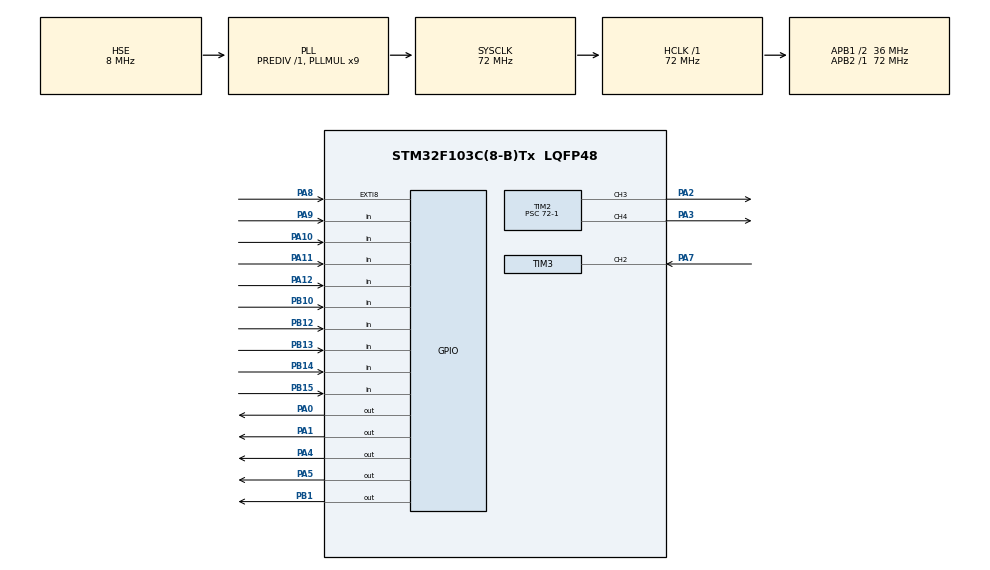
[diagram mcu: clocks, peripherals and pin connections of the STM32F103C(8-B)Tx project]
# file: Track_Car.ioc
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FREERTOS.Tasks01=defaultTask,24,128,StartDefaultTask,Default,NULL,Dynamic,NULL,NULL
FREERTOS.configTOTAL_HEAP_SIZE=10240
Mcu.Family=STM32F1
Mcu.Name=STM32F103C(8-B)Tx
Mcu.Package=LQFP48
NVIC.EXTI9_5_IRQn=true\:5\:0\:false\:false\:true\:true\:true\:true\:true
NVIC.PriorityGroup=NVIC_PRIORITYGROUP_4
NVIC.RTC_Alarm_IRQn=true\:5\:0\:false\:false\:true\:true\:true\:true\:true
NVIC.TIM3_IRQn=true\:6\:0\:true\:false\:true\:true\:true\:true\:true
NVIC.TIM4_IRQn=true\:5\:0\:true\:false\:true\:true\:true\:true\:true
PA0-WKUP.GPIO_PuPd=GPIO_NOPULL
PA0-WKUP.PinState=GPIO_PIN_RESET
PA0-WKUP.Signal=GPIO_Output
PA1.GPIO_PuPd=GPIO_NOPULL
PA1.Signal=GPIO_Output
PA10.Signal=GPIO_Input
PA11.Signal=GPIO_Input
PA12.Signal=GPIO_Input
PA13.Mode=Serial_Wire
PA13.Signal=SYS_JTMS-SWDIO
PA14.Mode=Serial_Wire
PA14.Signal=SYS_JTCK-SWCLK
PA2.Signal=S_TIM2_CH3
PA3.Signal=S_TIM2_CH4
PA4.GPIO_PuPd=GPIO_NOPULL
PA4.Signal=GPIO_Output
PA5.GPIO_PuPd=GPIO_NOPULL
PA5.Signal=GPIO_Output
PA7.Signal=S_TIM3_CH2
PA8.GPIO_ModeDefaultEXTI=GPIO_MODE_IT_FALLING
PA8.Signal=GPXTI8
PA9.Signal=GPIO_Input
PB1.GPIO_Speed=GPIO_SPEED_FREQ_HIGH
PB1.Signal=GPIO_Output
PB10.Signal=GPIO_Input
PB12.Signal=GPIO_Input
PB13.Signal=GPIO_Input
PB14.Signal=GPIO_Input
PB15.Signal=GPIO_Input
PC14-OSC32_IN.Mode=LSE-External-Oscillator
PC14-OSC32_IN.Signal=RCC_OSC32_IN
PC15-OSC32_OUT.Mode=LSE-External-Oscillator
PC15-OSC32_OUT.Signal=RCC_OSC32_OUT
PD0-OSC_IN.Mode=HSE-External-Oscillator
PD0-OSC_IN.Signal=RCC_OSC_IN
PD1-OSC_OUT.Mode=HSE-External-Oscillator
PD1-OSC_OUT.Signal=RCC_OSC_OUT
ProjectManager.HeapSize=0x200
ProjectManager.StackSize=0x400
ProjectManager.TargetToolchain=MDK-ARM V5.32
RCC.AHBFreq_Value=72000000
RCC.APB1CLKDivider=RCC_HCLK_DIV2
RCC.APB1Freq_Value=36000000
RCC.APB1TimFreq_Value=72000000
RCC.APB2Freq_Value=72000000
RCC.APB2TimFreq_Value=72000000
RCC.HCLKFreq_Value=72000000
RCC.PLLMUL=RCC_PLL_MUL9
RCC.PLLSourceVirtual=RCC_PLLSOURCE_HSE
RCC.SYSCLKFreq_VALUE=72000000
RCC.SYSCLKSource=RCC_SYSCLKSOURCE_PLLCLK
RCC.USBFreq_Value=72000000
SH.S_TIM2_CH3.0=TIM2_CH3,PWM Generation3 CH3
SH.S_TIM2_CH4.0=TIM2_CH4,PWM Generation4 CH4
SH.S_TIM3_CH2.0=TIM3_CH2,Input_Capture2_from_TI2
TIM2.Channel-PWM\ Generation3\ CH3=TIM_CHANNEL_3
TIM2.Channel-PWM\ Generation4\ CH4=TIM_CHANNEL_4
TIM2.Period=1000-1
TIM2.Prescaler=72-1
TIM3.AutoReloadPreload=TIM_AUTORELOAD_PRELOAD_ENABLE
TIM3.Channel-Input_Capture2_from_TI2=TIM_CHANNEL_2
TIM3.ICFilter_CH2=8
TIM3.ICPolarity_CH2=TIM_INPUTCHANNELPOLARITY_FALLING
TIM3.Period=20000-1
TIM3.Prescaler=72-1
TIM4.AutoReloadPreload=TIM_AUTORELOAD_PRELOAD_ENABLE
TIM4.Period=1000-1
TIM4.Prescaler=72-1
VP_FREERTOS_VS_CMSIS_V2.Mode=CMSIS_V2
VP_IWDG_VS_IWDG.Mode=IWDG_Activate
VP_RTC_VS_RTC_Activate.Mode=RTC_Enabled
VP_RTC_VS_RTC_Calendar.Mode=RTC_Calendar
VP_TIM3_VS_ClockSourceINT.Mode=Internal
VP_TIM4_VS_ClockSourceINT.Mode=Internal
board=custom

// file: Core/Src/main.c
/* USER CODE BEGIN Header */
/**
  ******************************************************************************
  * @file           : main.c
  * @brief          : Main program body
  ******************************************************************************
  * @attention
  *
  * Copyright (c) 2026 STMicroelectronics.
  * All rights reserved.
  *
  * This software is licensed under terms that can be found in the LICENSE file
  * in the root directory of this software component.
  * If no LICENSE file comes with this software, it is provided AS-IS.
  *
  ******************************************************************************
  */
/* USER CODE END Header */
#include "main.h"
#include "cmsis_os.h"
#include "iwdg.h"
#include "rtc.h"
#include "tim.h"
#include "gpio.h"

/* USER CODE BEGIN Includes */
#include "task_tracking.h"
#include "bsp_motor.h"
#include "bsp_ultraSound.h"
#include "power_model.h"
/* USER CODE END Includes */

void SystemClock_Config(void);
void MX_FREERTOS_Init(void);

int main(void)
{

  /* MCU Configuration--------------------------------------------------------*/

  /* Reset of all peripherals, Initializes the Flash interface and the Systick. */
  HAL_Init();

  /* Configure the system clock */
  SystemClock_Config();

  /* Initialize all configured peripherals */
  MX_GPIO_Init();
  MX_TIM2_Init();
  MX_TIM4_Init();
  MX_TIM3_Init();
  if (IWDG_IS_ON)
  {
//      MX_IWDG_Init();
  }
  MX_RTC_Init();
  /* USER CODE BEGIN 2 */
  Task_Init();
  /* USER CODE END 2 */
//  RTC_SetAlarm_Relative(10);
//  HAL_GPIO_WritePin(GPIOB, GPIO_PIN_0, GPIO_PIN_SET);
//  HAL_Delay(5000);
//  HAL_GPIO_WritePin(GPIOB, GPIO_PIN_0, GPIO_PIN_RESET);
//  HAL_Delay(5000);
//  Standby_Mode();
  /* Init scheduler */
  osKernelInitialize();  /* Call init function for freertos objects (in cmsis_os2.c) */
  MX_FREERTOS_Init();

  /* Start scheduler */
  osKernelStart();

  /* We should never get here as control is now taken by the scheduler */

  /* Infinite loop */
  while (1)
  {

  }
}

void SystemClock_Config(void)
{
  RCC_OscInitTypeDef RCC_OscInitStruct = {0};
  RCC_ClkInitTypeDef RCC_ClkInitStruct = {0};
  RCC_PeriphCLKInitTypeDef PeriphClkInit = {0};

  /** Initializes the RCC Oscillators according to the specified parameters
  * in the RCC_OscInitTypeDef structure.
  */
  RCC_OscInitStruct.OscillatorType = RCC_OSCILLATORTYPE_LSI|RCC_OSCILLATORTYPE_HSE;
  RCC_OscInitStruct.HSEState = RCC_HSE_ON;
  RCC_OscInitStruct.HSEPredivValue = RCC_HSE_PREDIV_DIV1;
  RCC_OscInitStruct.HSIState = RCC_HSI_ON;
  RCC_OscInitStruct.LSIState = RCC_LSI_ON;
  RCC_OscInitStruct.PLL.PLLState = RCC_PLL_ON;
  RCC_OscInitStruct.PLL.PLLSource = RCC_PLLSOURCE_HSE;
  RCC_OscInitStruct.PLL.PLLMUL = RCC_PLL_MUL9;
  if (HAL_RCC_OscConfig(&RCC_OscInitStruct) != HAL_OK)
  {
    Error_Handler();
  }

  /** Initializes the CPU, AHB and APB buses clocks
  */
  RCC_ClkInitStruct.ClockType = RCC_CLOCKTYPE_HCLK|RCC_CLOCKTYPE_SYSCLK
                              |RCC_CLOCKTYPE_PCLK1|RCC_CLOCKTYPE_PCLK2;
  RCC_ClkInitStruct.SYSCLKSource = RCC_SYSCLKSOURCE_PLLCLK;
  RCC_ClkInitStruct.AHBCLKDivider = RCC_SYSCLK_DIV1;
  RCC_ClkInitStruct.APB1CLKDivider = RCC_HCLK_DIV2;
  RCC_ClkInitStruct.APB2CLKDivider = RCC_HCLK_DIV1;

  if (HAL_RCC_ClockConfig(&RCC_ClkInitStruct, FLASH_LATENCY_2) != HAL_OK)
  {
    Error_Handler();
  }
  PeriphClkInit.PeriphClockSelection = RCC_PERIPHCLK_RTC;
  PeriphClkInit.RTCClockSelection = RCC_RTCCLKSOURCE_LSI;
  if (HAL_RCCEx_PeriphCLKConfig(&PeriphClkInit) != HAL_OK)
  {
    Error_Handler();
  }
}

void Error_Handler(void)
{
  __disable_irq();
  while (1)
  {
  }
}

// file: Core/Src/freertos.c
/* USER CODE BEGIN Header */
/**
  ******************************************************************************
  * File Name          : freertos.c
  * Description        : Code for freertos applications
  ******************************************************************************
  * @attention
  *
  * Copyright (c) 2026 STMicroelectronics.
  * All rights reserved.
  *
  * This software is licensed under terms that can be found in the LICENSE file
  * in the root directory of this software component.
  * If no LICENSE file comes with this software, it is provided AS-IS.
  *
  ******************************************************************************
  */
/* USER CODE END Header */

#include "FreeRTOS.h"
#include "task.h"
#include "main.h"
#include "cmsis_os.h"
#include "queue.h"
/* USER CODE BEGIN Includes */
#include "bsp_redCheck.h"
#include "task_tracking.h"
#include "remote_ir.h"
#include "bsp_motor.h"
#include "power_model.h"
#include "iwdg.h"
#include "bsp_ultraSound.h"
/* USER CODE END Includes */

/* USER CODE BEGIN Variables */

TaskHandle_t trackTaskHandle;
TaskHandle_t remoteTaskHandle;
TaskHandle_t aVoidTaskHandle;
QueueHandle_t xLengthQueue;
uint8_t TrackMode = 0;
uint8_t RemoteMode = 0;
uint8_t AvoidMode = 0;
uint8_t SavePowerMode = 0;
/* USER CODE END Variables */
/* Definitions for defaultTask */
//osThreadId_t defaultTaskHandle;
//const osThreadAttr_t defaultTask_attributes = {
//  .name = "defaultTask",
//  .stack_size = 128 * 4,
//  .priority = (osPriority_t) osPriorityNormal,
//};

/* USER CODE BEGIN FunctionPrototypes */

void DeleteTask(TaskHandle_t* xTaskToDelete)
{
     if (xTaskToDelete != NULL && *xTaskToDelete != NULL )
     {
         vTaskDelete(*xTaskToDelete);
         *xTaskToDelete = NULL;
     }

}

void vAvoidMode(void *argument)
{
    uint32_t tick = osKernelGetTickCount(); // 获取系统内部时间戳
    if (xLengthQueue == NULL) xLengthQueue = xQueueCreate(1, sizeof(float)); //第一次调用，创建队列，接收距离值
    if (xLengthQueue == NULL) vTaskDelay(NULL);
    float Length = 100.0;
    for(;;)
    {
       tick += 50;
       Length = GetLength();
       xQueueOverwrite(xLengthQueue, &Length);
       osDelayUntil(tick);
    }
}

void vTrackMode(void *argument)
{
    uint32_t tick = osKernelGetTickCount(); // 获取系统内部时间戳
    for(;;)
    {
        tick += 50;
        if (AvoidMode)
        {
           if (xQueueReceive(xLengthQueue, &Length,0) == pdPASS)
           {
               if (Length < 10.0f)
               {
                   Car_Stop();
                   continue;
               }
           }
        }
        Task_Run();
        osDelayUntil(tick);
    }

}

void vRemoteMode(void *argument)
{
    uint32_t tick = osKernelGetTickCount(); // 获取系统内部时间戳
    float Length = 100.0f;
    for(;;)
    {
        tick += 50;
        if (AvoidMode)
        {
           if (xQueueReceive(xLengthQueue, &Length,0) == pdPASS)
           {
               if (Length < 10.0f)
               {
                   Car_Stop();
                   continue;
               }
           }
        }
        if (IR_code == 'L')       //  左转
        {
            Car_SetSpeed(0,900);
        }
        else if(IR_code == 'R')   //  右转
        {
            Car_SetSpeed(900,0);
        }
        else if(IR_code == '+')    // 前进
        {
            Car_Forward(800);
        }
        else if(IR_code == '-')  // 后退
        {
            Car_Back(800);
        }
        else if(IR_code == '8')    // 自转
        {
            Car_SetSpeed(900,-900);
        }
        else if(IR_code == '7')    // 自转
        {
            Car_SetSpeed(-900,900);
        }
        else                      //其他按键异常，就停止
        {
//            Car_Stop();
        }
        osDelayUntil(tick);
    }

}

void vModeSelect(void *argument)
{
    uint32_t tick = osKernelGetTickCount(); // 获取系统内部时间戳
    for(;;)
    {
        tick += 20;
        //循迹模式--*  遥控模式--#   避障模式--0  省电模式--O
        if(IR_code == '*')
        {
            IR_code = 0xFF;
            TrackMode = TrackMode ^ 1;
            RemoteMode = 0;
            if (TrackMode)
            {
                DeleteTask(&remoteTaskHandle);
                if (trackTaskHandle == NULL)
                {
                    xTaskCreate(vTrackMode, "vTrackMode", 400, NULL, 5, &trackTaskHandle);
                }
            }
            else
            {
                DeleteTask(&trackTaskHandle);
                Car_Stop();
            }
        }
        else if (IR_code == '#')
        {
            IR_code = 0xFF;
            RemoteMode = RemoteMode ^ 1;
            TrackMode = 0;
            if (RemoteMode)
            {
                DeleteTask(&trackTaskHandle);
                if (remoteTaskHandle == NULL)
                {
                    xTaskCreate(vRemoteMode, "vRemoteMode", 100, NULL, 5, &remoteTaskHandle);
                }
            }
            else
            {
                DeleteTask(&remoteTaskHandle);
                Car_Stop();
            }
        }
        else if(IR_code == '0')
        {
            IR_code = 0xFF;
            AvoidMode = AvoidMode ^ 1;
            if (AvoidMode)
            {
                if (aVoidTaskHandle == NULL)
                {
                    xTaskCreate(vAvoidMode, "vAvoidMode", 100, NULL, 5, &aVoidTaskHandle);
                }
            }
            else
            {
                DeleteTask(&aVoidTaskHandle);
                Car_Stop();
            }
        }
        else if(IR_code == 'O')
        {
            SavePowerMode = SavePowerMode ^ 1;
//            vAvoidMode
        }
        else
        {
            //其他按键不处理
        }
        osDelayUntil(tick);
    }

}

void vIWDG(void *argument)
{
     uint32_t tick = osKernelGetTickCount(); // 获取系统内部时间戳
    for(;;)
    {
        tick += 50;
        HAL_IWDG_Refresh(&hiwdg);
        osDelayUntil(tick);
    }

}
/* USER CODE END FunctionPrototypes */

void StartDefaultTask(void *argument);

void MX_FREERTOS_Init(void); /* (MISRA C 2004 rule 8.1) */

void MX_FREERTOS_Init(void) {

  /* Create the thread(s) */
  /* creation of defaultTask */
//  defaultTaskHandle = osThreadNew(StartDefaultTask, NULL, &defaultTask_attributes);

  /* USER CODE BEGIN RTOS_THREADS */
  /* add threads, ... */
//  xTaskCreate(vGetLineValue,"GetLine",1000,NULL,3,NULL);
  xTaskCreate(vModeSelect, "vModeSelect", 400, NULL, 4, NULL);

  /* USER CODE END RTOS_THREADS */

}

void StartDefaultTask(void *argument)
{
  for(;;)
  {
    osDelay(1);
  }
}
